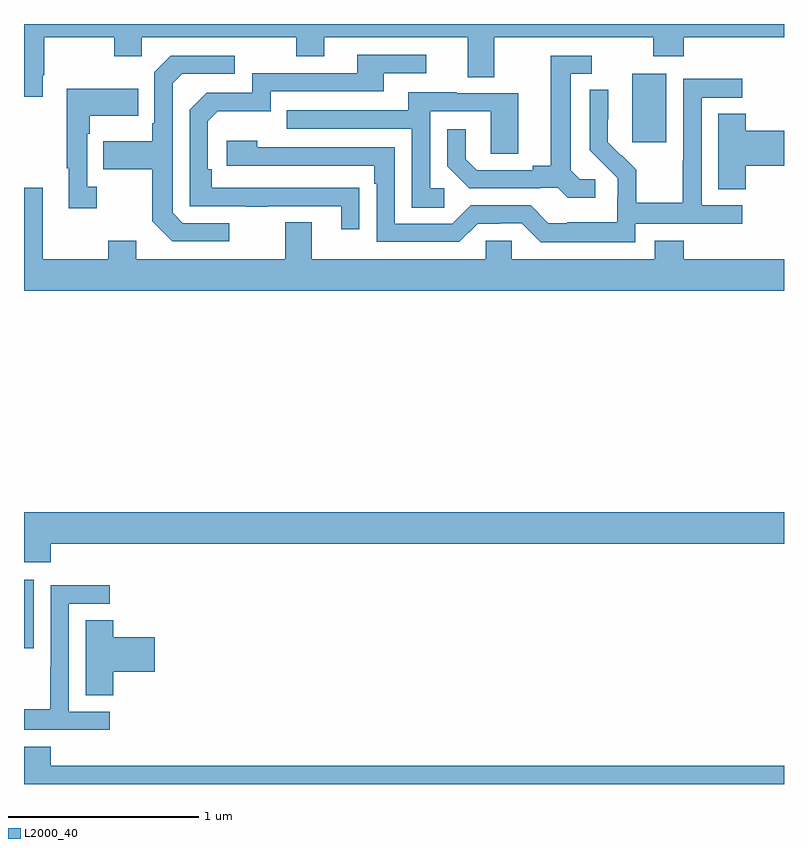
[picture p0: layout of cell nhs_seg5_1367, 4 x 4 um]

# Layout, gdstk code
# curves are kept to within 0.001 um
import gdstk
lib = gdstk.Library(unit=1e-6, precision=1e-09)
def R(c, l, rs):  # rectangles x0, y0, x1, y1
    for r in rs: c.add(gdstk.rectangle(r[:2], r[2:], *l))
def P(c, l, *ps):  # polygons
    for p in ps: c.add(gdstk.Polygon(p, *l))
L2000_40 = (2000, 40)

nhs_seg5_1367 = lib.new_cell('nhs_seg5_1367')
R(nhs_seg5_1367, L2000_40, [(193,885.513,193.051,885.874), (196.202,888.177,196.381,888.538)])
P(nhs_seg5_1367, L2000_40, [(193.099,888.529),(193.107,888.529),(193.107,888.728),(193.474,888.728),(193.474,888.629),(193.62,888.629),(193.62,888.728),(194.434,888.728),(194.434,888.629),(194.581,888.629),(194.581,888.728),(195.335,888.728),(195.335,888.52),(195.475,888.52),(195.475,888.728),(196.312,888.728),(196.312,888.629),(196.472,888.629),(196.472,888.728),(197,888.728),(197,888.799),(193,888.799),(193,888.417),(193.099,888.417)],
  [(194.765,887.936),(193.988,887.937),(193.988,888.034),(193.968,888.034),(193.968,888.288),(194.021,888.341),(194.298,888.341),(194.298,888.444),(194.893,888.444),(194.893,888.54),(195.118,888.54),(195.118,888.636),(194.753,888.636),(194.753,888.54),(194.202,888.54),(194.202,888.438),(193.962,888.438),(193.872,888.348),(193.872,887.841),(194.167,887.841),(194.167,887.836),(194.279,887.836),(194.279,887.841),(194.669,887.841),(194.669,887.718),(194.765,887.718)],
  [(194.08,887.751),(193.836,887.751),(193.782,887.805),(193.782,888.486),(193.833,888.537),(194.11,888.537),(194.11,888.633),(193.773,888.633),(193.686,888.546),(193.686,888.277),(193.674,888.277),(193.674,888.181),(193.417,888.181),(193.417,888.034),(193.674,888.034),(193.674,887.761),(193.779,887.655),(194.08,887.655)],
  [(196.006,887.982),(195.924,887.982),(195.877,888.029),(195.877,888.537),(195.988,888.537),(195.988,888.633),(195.773,888.633),(195.773,888.053),(195.677,888.053),(195.677,888.03),(195.382,888.03),(195.325,888.087),(195.325,888.244),(195.228,888.244),(195.228,888.05),(195.344,887.934),(195.716,887.934),(195.716,887.937),(195.81,887.937),(195.862,887.885),(196.006,887.885)],
  [(196.218,887.748),(196.78,887.748),(196.78,887.844),(196.566,887.844),(196.566,888.411),(196.78,888.411),(196.78,888.51),(196.47,888.51),(196.47,888.08),(196.468,888.08),(196.468,887.857),(196.223,887.857),(196.223,888.031),(196.146,888.108),(196.143,888.105),(196.073,888.176),(196.074,888.452),(195.978,888.452),(195.978,888.134),(196.124,887.986),(196.124,887.889),(196.122,887.889),(196.122,887.755),(195.859,887.755),(195.859,887.751),(195.759,887.751),(195.666,887.844),(195.351,887.844),(195.255,887.748),(194.952,887.748),(194.952,888.15),(194.228,888.15),(194.228,888.184),(194.067,888.184),(194.067,888.054),(194.843,888.054),(194.843,887.957),(194.856,887.957),(194.856,887.652),(195.291,887.652),(195.387,887.748),(195.506,887.748),(195.506,887.751),(195.621,887.751),(195.721,887.651),(196.218,887.651)],
  [(193.384,887.942),(193.332,887.942),(193.332,888.221),(193.345,888.221),(193.345,888.317),(193.601,888.317),(193.601,888.457),(193.224,888.457),(193.224,888.041),(193.235,888.041),(193.235,887.829),(193.384,887.829)],
  [(195.211,887.934),(195.138,887.934),(195.138,888.339),(195.456,888.339),(195.456,888.115),(195.601,888.115),(195.601,888.435),(195.277,888.435),(195.277,888.439),(195.023,888.439),(195.023,888.345),(194.383,888.345),(194.383,888.249),(195.042,888.249),(195.042,887.833),(195.211,887.833)],
  [(196.799,888.053),(197,888.053),(197,888.236),(196.799,888.236),(196.799,888.326),(196.655,888.326),(196.655,887.929),(196.799,887.929)],
  [(197,887.56),(196.472,887.56),(196.472,887.659),(196.319,887.659),(196.319,887.56),(195.567,887.56),(195.567,887.658),(195.429,887.658),(195.429,887.56),(194.515,887.56),(194.515,887.755),(194.375,887.755),(194.375,887.56),(193.591,887.56),(193.591,887.659),(193.444,887.659),(193.444,887.56),(193.099,887.56),(193.099,887.938),(193,887.938),(193,887.396),(197,887.396)],
  [(193.142,886.064),(197,886.064),(197,886.228),(193,886.228),(193,885.965),(193.142,885.965)],
  [(193.45,885.18),(193.236,885.18),(193.236,885.747),(193.45,885.747),(193.45,885.846),(193.14,885.846),(193.14,885.416),(193.138,885.416),(193.138,885.193),(193,885.193),(193,885.084),(193.45,885.084)],
  [(193.469,885.389),(193.687,885.389),(193.687,885.572),(193.469,885.572),(193.469,885.662),(193.325,885.662),(193.325,885.265),(193.469,885.265)],
  [(197,884.896),(193.142,884.896),(193.142,884.995),(193,884.995),(193,884.799),(197,884.799)])

lib.write_gds('nhs_seg5_1367.gds')
